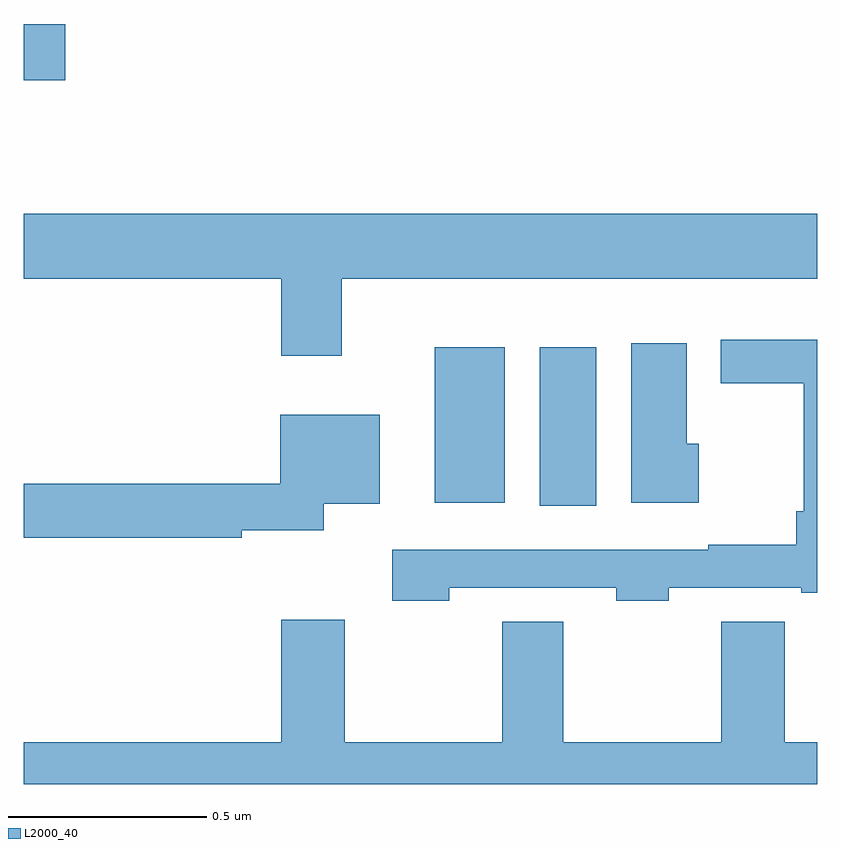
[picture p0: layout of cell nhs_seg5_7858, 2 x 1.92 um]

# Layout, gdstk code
import gdstk
lib = gdstk.Library(unit=1e-6, precision=1e-09)
def R(c, l, rs):  # rectangles x0, y0, x1, y1
    for r in rs: c.add(gdstk.rectangle(r[:2], r[2:], *l))
def P(c, l, *ps):  # polygons
    for p in ps: c.add(gdstk.Polygon(p, *l))
L2000_40 = (2000, 40)

nhs_seg5_7858 = lib.new_cell('nhs_seg5_7858')
R(nhs_seg5_7858, L2000_40, [(215.3,877.5,215.443,877.9), (215.036,877.508,215.212,877.9), (214,878.572,214.105,878.714)])
P(nhs_seg5_7858, L2000_40, [(214.801,878.072),(216,878.072),(216,878.236),(214,878.236),(214,878.072),(214.649,878.072),(214.649,877.878),(214.801,877.878)],
  [(215.073,877.293),(215.493,877.293),(215.493,877.261),(215.625,877.261),(215.625,877.293),(215.96,877.293),(215.96,877.281),(216,877.281),(216,877.918),(215.757,877.918),(215.757,877.809),(215.966,877.809),(215.966,877.486),(215.947,877.486),(215.947,877.402),(215.725,877.402),(215.725,877.389),(214.929,877.389),(214.929,877.261),(215.073,877.261)],
  [(215.701,877.656),(215.671,877.656),(215.671,877.909),(215.531,877.909),(215.531,877.508),(215.701,877.508)],
  [(214.55,877.438),(214.756,877.438),(214.756,877.505),(214.897,877.505),(214.897,877.729),(214.646,877.729),(214.646,877.556),(214,877.556),(214,877.42),(214.55,877.42)],
  [(216,876.904),(215.918,876.904),(215.918,877.208),(215.758,877.208),(215.758,876.904),(215.36,876.904),(215.36,877.208),(215.206,877.208),(215.206,876.904),(214.809,876.904),(214.809,877.213),(214.649,877.213),(214.649,876.904),(214,876.904),(214,876.799),(216,876.799)])

lib.write_gds('nhs_seg5_7858.gds')
